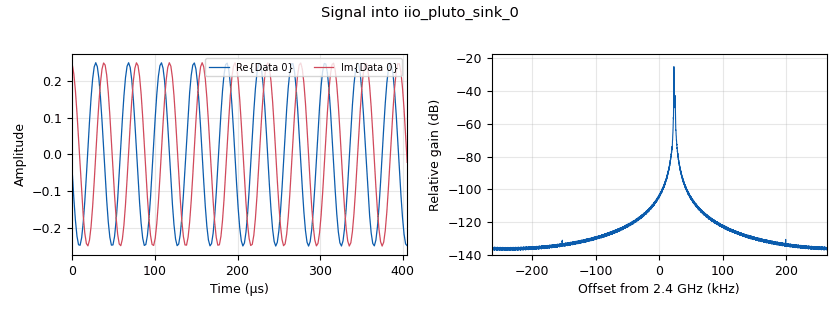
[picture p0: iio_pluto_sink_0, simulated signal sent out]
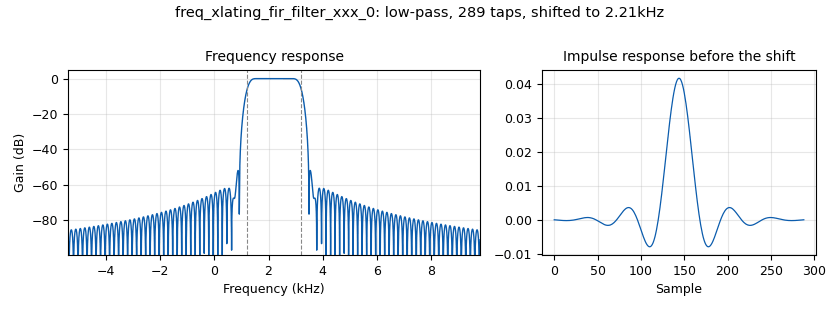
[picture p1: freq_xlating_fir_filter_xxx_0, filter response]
options:
  parameters:
    author: CSPL
    description: FSK
    generate_options: qt_gui
    id: FSK
    output_language: python
    title: FSK
  states: {}

blocks:
- name: baud
  id: variable
  parameters:
    value: 1/0.022
  states: {}
- name: center
  id: variable
  parameters:
    value: '2210'
  states: {}
- name: delay
  id: variable_qtgui_range
  parameters:
    label: Delay
    start: '0'
    step: '1'
    stop: '250'
    value: '145'
  states: {}
- name: fsk_deviation
  id: variable
  parameters:
    value: '170'
  states: {}
- name: inp_amp
  id: variable
  parameters:
    value: ((center+(fsk_deviation/2))/vco_max)-vco_offset
  states: {}
- name: repeat
  id: variable
  parameters:
    value: (int)(samp_rate*0.022)
  states: {}
- name: samp_rate
  id: variable
  parameters:
    value: '48000'
  states: {}
- name: sps
  id: variable
  parameters:
    value: '11'
  states: {}
- name: sq_lvl
  id: variable_qtgui_range
  parameters:
    label: Squelch
    start: '-100'
    step: '5'
    stop: '0'
    value: '-70'
  states: {}
- name: vco_max
  id: variable
  parameters:
    value: '2500'
  states: {}
- name: vco_offset
  id: variable
  parameters:
    value: (center-(fsk_deviation/2))/vco_max
  states: {}
- name: analog_quadrature_demod_cf_1
  id: analog_quadrature_demod_cf
  parameters:
    gain: samp_rate/(2*math.pi*fsk_deviation)
  states: {}
- name: analog_random_source_x_0
  id: analog_random_source_x
  parameters:
    max: '256'
    min: '0'
    num_samps: '1024'
    repeat: 'True'
    type: byte
  states: {}
- name: analog_simple_squelch_cc_0
  id: analog_simple_squelch_cc
  parameters:
    alpha: '1'
    threshold: sq_lvl
  states: {}
- name: blocks_add_const_vxx_0
  id: blocks_add_const_vxx
  parameters:
    comment: vco_offset
    const: vco_offset
    type: float
  states: {}
- name: blocks_multiply_const_vxx_0
  id: blocks_multiply_const_vxx
  parameters:
    comment: inp_amp
    const: inp_amp
    type: float
  states: {}
- name: blocks_multiply_const_vxx_0_0_0
  id: blocks_multiply_const_vxx
  parameters:
    const: '0.5'
    type: complex
  states: {}
- name: blocks_repeat_0
  id: blocks_repeat
  parameters:
    interp: repeat
    type: byte
  states: {}
- name: blocks_uchar_to_float_0
  id: blocks_uchar_to_float
  parameters: {}
  states: {}
- name: blocks_uchar_to_float_0_0
  id: blocks_uchar_to_float
  parameters: {}
  states: {}
- name: blocks_unpack_k_bits_bb_0
  id: blocks_unpack_k_bits_bb
  parameters:
    k: '8'
  states: {}
- name: blocks_vco_c_0
  id: blocks_vco_c
  parameters:
    amplitude: '0.5'
    samp_rate: samp_rate
    sensitivity: '15708'
  states: {}
- name: digital_binary_slicer_fb_0
  id: digital_binary_slicer_fb
  parameters: {}
  states: {}
- name: freq_xlating_fir_filter_xxx_0
  id: freq_xlating_fir_filter_xxx
  parameters:
    center_freq: center
    decim: '1'
    samp_rate: samp_rate
    taps: firdes.low_pass(1.0,samp_rate,1000,400)
    type: ccc
  states: {}
- name: iio_pluto_sink_0
  id: iio_pluto_sink
  parameters:
    attenuation1: '10.0'
    bandwidth: '1000000'
    buffer_size: '32768'
    cyclic: 'False'
    filter_source: '''Auto'''
    frequency: '2400000000'
    samplerate: samp_rate*sps
    type: fc32
    uri: 192.168.2.1
  states: {}
- name: iio_pluto_source_0
  id: iio_pluto_source
  parameters:
    bandwidth: '1000000'
    bbdc: 'True'
    buffer_size: '32768'
    filter_source: '''Auto'''
    frequency: '2400000000'
    gain1: '''slow_attack'''
    quadrature: 'True'
    rfdc: 'True'
    samplerate: samp_rate*sps
    type: fc32
    uri: 192.168.2.1
  states: {}
- name: qtgui_eye_sink_x_0
  id: qtgui_eye_sink_x
  parameters:
    samp_per_symbol: sps
    size: '1024'
    srate: '500'
    tr_mode: qtgui.TRIG_MODE_AUTO
    tr_tag: ''
    type: float
  states: {}
- name: qtgui_time_sink_x_0
  id: qtgui_time_sink_x
  parameters:
    ctrlpanel: 'True'
    size: '16384'
    srate: samp_rate
    tr_level: '0.5'
    tr_mode: qtgui.TRIG_MODE_NORM
    tr_slope: qtgui.TRIG_SLOPE_NEG
    type: float
  states: {}
- name: rational_resampler_xxx_0_0
  id: rational_resampler_xxx
  parameters:
    comment: |-
      sample rate 500 ->
      11 samples per symbol
    decim: '96'
    interp: '1'
    taps: ''
    type: fff
  states: {}
- name: virtual_sink_0
  id: virtual_sink
  parameters:
    stream_id: '"xmt_data"'
  states: {}
- name: virtual_source_0
  id: virtual_source
  parameters:
    stream_id: '"xmt_data"'
  states: {}

connections:
- [analog_quadrature_demod_cf_1, '0', digital_binary_slicer_fb_0, '0']
- [analog_quadrature_demod_cf_1, '0', rational_resampler_xxx_0_0, '0']
- [analog_random_source_x_0, '0', blocks_unpack_k_bits_bb_0, '0']
- [analog_simple_squelch_cc_0, '0', analog_quadrature_demod_cf_1, '0']
- [blocks_add_const_vxx_0, '0', blocks_vco_c_0, '0']
- [blocks_multiply_const_vxx_0, '0', blocks_add_const_vxx_0, '0']
- [blocks_multiply_const_vxx_0_0_0, '0', iio_pluto_sink_0, '0']
- [blocks_repeat_0, '0', blocks_uchar_to_float_0, '0']
- [blocks_uchar_to_float_0, '0', virtual_sink_0, '0']
- [blocks_uchar_to_float_0_0, '0', qtgui_time_sink_x_0, '0']
- [blocks_unpack_k_bits_bb_0, '0', blocks_repeat_0, '0']
- [blocks_vco_c_0, '0', blocks_multiply_const_vxx_0_0_0, '0']
- [digital_binary_slicer_fb_0, '0', blocks_uchar_to_float_0_0, '0']
- [freq_xlating_fir_filter_xxx_0, '0', analog_simple_squelch_cc_0, '0']
- [iio_pluto_source_0, '0', freq_xlating_fir_filter_xxx_0, '0']
- [rational_resampler_xxx_0_0, '0', qtgui_eye_sink_x_0, '0']
- [virtual_source_0, '0', blocks_multiply_const_vxx_0, '0']

metadata:
  file_format: 1
  grc_version: 3.10.7.0
